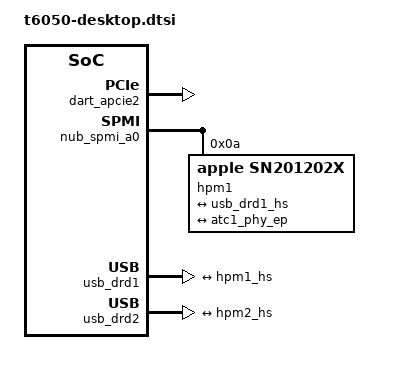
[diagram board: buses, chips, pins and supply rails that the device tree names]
// SPDX-License-Identifier: GPL-2.0+ OR MIT
/*
 * What the T6050 desktops (Mac Studio J775d, Mac mini J873s) share on die 0: the onboard
 * Ethernet on PCIe port 2, and rear USB-C ports 1-3 (ATC0-2, their PD controllers on
 * nub-spmi-a0 at SPMI addresses 0xc, 0xa and 0x8). Each board's ADT gives the same port,
 * bridge, PHY and HPM layout for these; only the connectors' places differ.
 *
 * The board file includes this before its own &pcie0 and &nub_spmi_a0 nodes (its other root
 * ports and HPMs follow these) and defines first:
 *   T6050_DESKTOP_HPM1_LABEL	the label of rear port 2's connector (HPM1, ATC1)
 *   T6050_DESKTOP_HPM2_LABEL	the label of rear port 3's connector (HPM2, ATC2)
 * The board sets &pcie0's registers, interrupts, iommu-map and bus-range, and the
 * ethernet0 alias through which the boot loader fills the MAC address.
 *
 * Copyright The Asahi Linux Contributors
 */

/*
 * PCIe port 2: the onboard Ethernet (ADT apcie0/pci-bridge2/lan0). The boot loader powers and
 * trains the link and numbers its secondary bus 1.
 */
&pcie0 {
	port02: pci@2,0 {
		device_type = "pci";
		reg = <0x1000 0 0 0 0>;
		bus-range = <1 1>;
		apple,link-trained-by-bootloader;

		#address-cells = <3>;
		#size-cells = <2>;
		ranges;

		interrupt-controller;
		#interrupt-cells = <1>;
		interrupt-map-mask = <0 0 0 7>;
		interrupt-map = <0 0 0 1 &port02 0 0 0 0>,
				<0 0 0 2 &port02 0 0 0 1>,
				<0 0 0 3 &port02 0 0 0 2>,
				<0 0 0 4 &port02 0 0 0 3>;

		/* The controller keeps no MAC address of its own */
		ethernet0: ethernet@0,0 {
			reg = <0x10000 0x0 0x0 0x0 0x0>;
			/* To be filled by the loader */
			local-mac-address = [00 00 00 00 00 00];
		};
	};
};

&dart_apcie2 {
	status = "okay";
};

&nub_spmi_a0 {
	/*
	 * /arm-io/nub-spmi-a0/hpm0: SN201202x (ACE3), SPMI address 0xc, port-number 1.
	 * Reserved: rear port 1 carries the DFU cable, the host's VDM reboot path and the
	 * debug console (KIS) through usb-drd0; a probe wakes the controller and sets its
	 * power state even when polled. No ATC0, usb-drd0 or dart-usb0 node either.
	 */
	hpm0: usb-pd@c {
		compatible = "apple,sn201202x";
		reg = <0xc SPMI_USID>;
		status = "disabled";
	};

	/* /arm-io/nub-spmi-a0/hpm1: SN201202x (ACE3), SPMI address 0xa, port-number 2 */
	hpm1: usb-pd@a {
		compatible = "apple,sn201202x";
		reg = <0xa SPMI_USID>;

		connector {
			compatible = "usb-c-connector";
			label = T6050_DESKTOP_HPM1_LABEL;
			power-role = "dual";
			data-role = "host";

			ports {
				#address-cells = <1>;
				#size-cells = <0>;

				port@0 {
					reg = <0>;
					hpm1_hs: endpoint {
						remote-endpoint = <&usb_drd1_hs>;
					};
				};

				port@1 {
					reg = <1>;
					hpm1_ss: endpoint {
						remote-endpoint = <&atc1_phy_ep>;
					};
				};
			};
		};
	};

	/* /arm-io/nub-spmi-a0/hpm2: SN201202x (ACE3), SPMI address 8, port-number 3 */
	hpm2: usb-pd@8 {
		compatible = "apple,sn201202x";
		reg = <0x8 SPMI_USID>;
		status = "disabled";

		connector {
			compatible = "usb-c-connector";
			label = T6050_DESKTOP_HPM2_LABEL;
			power-role = "dual";
			data-role = "dual";

			ports {
				#address-cells = <1>;
				#size-cells = <0>;

				port@0 {
					reg = <0>;
					hpm2_hs: endpoint {
						remote-endpoint = <&usb_drd2_hs>;
					};
				};

				port@1 {
					reg = <1>;
					hpm2_ss: endpoint {
						remote-endpoint = <&atc2_phy_ep>;
					};
				};

				port@2 {
					reg = <2>;
					hpm2_dp: endpoint {
						remote-endpoint = <&dcpext0_typec>;
					};
				};
			};
		};
	};
};

/* Rear USB-C port 2 (HPM1), USB data: ATC1's combo PHY, usb-drd1 and dart-usb1 */
&atc1_phy {
	port {
		atc1_phy_ep: endpoint {
			remote-endpoint = <&hpm1_ss>;
		};
	};
};

&usb_drd1 {
	port {
		usb_drd1_hs: endpoint {
			remote-endpoint = <&hpm1_hs>;
		};
	};
};

/*
 * Rear USB-C port 3 (HPM2): DisplayPort out from dcpext0 through ATC2, and USB beside it
 * (usb-drd2, dart-usb2). The chain stays disabled: Aura's T6050 display handoff enables what
 * dcpext0 references (phys, mux-controls, the PHY's mailbox and power domains, the typec
 * route's HPM and its SPMI bus).
 */
&atc2_phy {
	port {
		atc2_phy_ep: endpoint {
			remote-endpoint = <&hpm2_ss>;
		};
	};
};

&usb_drd2 {
	port {
		usb_drd2_hs: endpoint {
			remote-endpoint = <&hpm2_hs>;
		};
	};
};

&dcpext0 {
	typec-routes {
		route@0 {
			port {
				dcpext0_typec: endpoint {
					remote-endpoint = <&hpm2_dp>;
				};
			};
		};
	};
};
